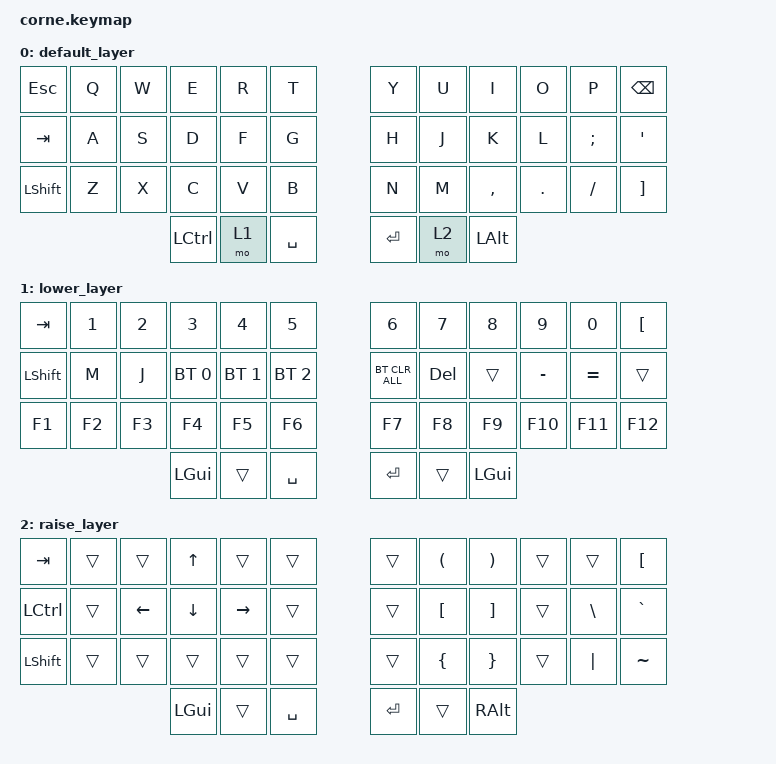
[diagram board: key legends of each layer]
/*
 * Copyright (c) 2020 The ZMK Contributors
 *
 * SPDX-License-Identifier: MIT
 */

#include <behaviors.dtsi>
#include <dt-bindings/zmk/bt.h>
#include <dt-bindings/zmk/keys.h>

/ {
    combos {
        compatible = "zmk,combos";

        combo_esc {
            timeout-ms = <50>;
            key-positions = <0 1>;
            bindings = <&kp ESC>;
        };
    };

    behaviors {
        ss_hs_modmorph: ss_hs_modmorph {
            compatible = "zmk,behavior-mod-morph";
            label = "SS_HS_MODMORPH";
            bindings = <&kp M>, <&kp RIGHT_BRACKET>;

            #binding-cells = <0>;
            mods = <(MOD_LSFT|MOD_RSFT)>;
        };

        kh_hs_tapdance: kh_hs_tapdance {
            compatible = "zmk,behavior-tap-dance";
            label = "KH_HS_TAPDANCE";
            #binding-cells = <0>;
            tapping-term-ms = <200>;
            bindings = <&kp LEFT_BRACKET>, <&kp RIGHT_BRACKET>;
        };

        hrm: hrm {
            compatible = "zmk,behavior-hold-tap";
            #binding-cells = <2>;
            flavor = "tap-preferred";
            tapping-term-ms = <200>;
            quick-tap-ms = <200>;
            require-prior-idle-ms = <125>;
            bindings = <&kp>, <&kp>;
        };
    };

    keymap {
        compatible = "zmk,keymap";

        default_layer {
            // -----------------------------------------------------------------------------------------
            // |  TAB |  Q  |  W  |  E  |  R  |  T  |   |  Y  |  U   |  I  |  O  |  P  | BKSP |
            // | CTRL |  A  |  S  |  D  |  F  |  G  |   |  H  |  J   |  K  |  L  |  ;  |  '   |
            // | SHFT |  Z  |  X  |  C  |  V  |  B  |   |  N  |  M   |  ,  |  .  |  /  | ESC  |
            //                    | GUI | LWR | SPC |   | ENT | RSE  | ALT |

            bindings = <
&kp ESC    &kp Q  &kp W  &kp E             &kp R  &kp T        &kp Y    &kp U  &kp I      &kp O    &kp P     &kp BACKSPACE
&kp TAB    &kp A  &kp S  &kp D             &kp F  &kp G        &kp H    &kp J  &kp K      &kp L    &kp SEMI  &kp SQT
&kp LSHFT  &kp Z  &kp X  &kp C             &kp V  &kp B        &kp N    &kp M  &kp COMMA  &kp DOT  &kp FSLH  &kp RIGHT_BRACKET
                         &kp LEFT_CONTROL  &mo 1  &kp SPACE    &kp RET  &mo 2  &kp LALT
            >;
        };

        lower_layer {
            // -----------------------------------------------------------------------------------------
            // |  TAB |  1  |  2  |  3  |  4  |  5  |   |  6  |  7  |  8  |  9  |  0  | BKSP |
            // | BTCLR| BT1 | BT2 | BT3 | BT4 | BT5 |   | LFT | DWN |  UP | RGT |     |      |
            // | SHFT |     |     |     |     |     |   |     |     |     |     |     |      |
            //                    | GUI |     | SPC |   | ENT |     | ALT |

            bindings = <
&kp TAB         &kp N1  &kp N2  &kp N3        &kp N4        &kp N5          &kp N6          &kp N7      &kp N8    &kp N9     &kp N0     &kp LEFT_BRACKET
&kp LEFT_SHIFT  &kp M   &kp J   &bt BT_SEL 0  &bt BT_SEL 1  &bt BT_SEL 2    &bt BT_CLR_ALL  &kp DELETE  &trans    &kp MINUS  &kp EQUAL  &trans
&kp F1          &kp F2  &kp F3  &kp F4        &kp F5        &kp F6          &kp F7          &kp F8      &kp F9    &kp F10    &kp F11    &kp F12
                                &kp LGUI      &trans        &kp SPACE       &kp RET         &trans      &kp LGUI
            >;
        };

        raise_layer {
            // -----------------------------------------------------------------------------------------
            // |  TAB |  !  |  @  |  #  |  $  |  %  |   |  ^  |  &  |  *  |  (  |  )  | BKSP |
            // | CTRL |     |     |     |     |     |   |  -  |  =  |  [  |  ]  |  \  |  `   |
            // | SHFT |     |     |     |     |     |   |  _  |  +  |  {  |  }  | "|" |  ~   |
            //                    | GUI |     | SPC |   | ENT |     | ALT |

            bindings = <
&kp TAB    &trans  &trans    &kp UP_ARROW  &trans     &trans       &trans   &kp LEFT_PARENTHESIS  &kp RIGHT_PARENTHESIS  &trans  &trans    &kp LEFT_BRACKET
&kp LCTRL  &trans  &kp LEFT  &kp DOWN      &kp RIGHT  &trans       &trans   &kp LEFT_BRACKET      &kp RIGHT_BRACKET      &trans  &kp BSLH  &kp GRAVE
&kp LSHFT  &trans  &trans    &trans        &trans     &trans       &trans   &kp LEFT_BRACE        &kp RIGHT_BRACE        &trans  &kp PIPE  &kp TILDE
                             &kp LGUI      &trans     &kp SPACE    &kp RET  &trans                &kp RALT
            >;
        };
    };
};
